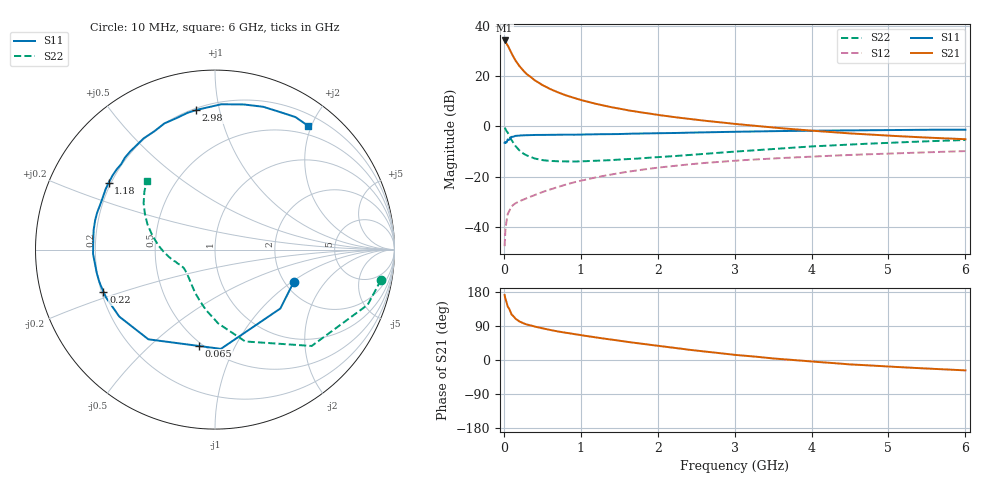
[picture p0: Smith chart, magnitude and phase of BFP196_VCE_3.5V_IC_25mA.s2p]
! Infineon Technologies  Discrete & RF Semiconductors
! BFP196
! VCE = 3.5 V,  IC =  25mA
! Common Emitter S-Parameters:  Jan 2016
# GHz  S  MA  R  50
!  f  S11  S21  S12  S22
! GHz  MAG  ANG  MAG  ANG  MAG  ANG  MAG  ANG
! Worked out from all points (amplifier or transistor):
!   210 points, 10 MHz to 6 GHz, reference 50 ohm
!   highest |S21| = 34.2 dB at 10 MHz (marker M1)
!   |S21| within 3 dB of that: start of sweep to 66.61 MHz
!   unconditionally stable (mu >= 1): 618.8 MHz to 3.497 GHz; 3.506 GHz to 4.204 GHz
!   at 185 MHz: K = 0.53, MSG = 27.4 dB, |S12| = -30.0 dB
!   at 1.52 GHz: K = 1.10, MAG = 10.7 dB, |S12| = -18.4 dB
!   at 6 GHz: K = 0.97, MSG = 2.4 dB, |S12| = -9.8 dB
!   S11 on the Smith chart (normalised r, x): 10 MHz: 2.24, -1.03; 65 MHz: 0.48, -0.73; 220 MHz: 0.21, -0.17; 1.18 GHz: 0.19, +0.28; 2.98 GHz: 0.21, +0.85; 6 GHz: 0.36, +1.95
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0.01  0.4745 -22.0  51.09 171.4  0.0042 83.2  0.9401 -10.4
0.02  0.4902 -42.0  48.83 162.0  0.0085 75.4  0.9045 -19.9
0.05  0.554 -86.6  40.84 141.2  0.0181 59.6  0.7606 -44.9
0.065  0.5443 -99.3  36.61 136.5  0.0203 54.4  0.6805 -51.1
0.1  0.6226 -126.6  28.18 120.2  0.026 46.0  0.5388 -71.8
0.15  0.6509 -145.0  20.51 108.9  0.0298 42.6  0.4111 -87.6
0.2  0.6631 -156.2  16.02 102.0  0.0326 42.7  0.338 -98.9
0.22  0.6641 -159.3  14.78 100.3  0.0336 43.2  0.3186 -102.2
0.26  0.6694 -165.0  12.53 96.5  0.0356 44.5  0.2862 -109.1
0.3  0.6717 -169.0  10.91 93.6  0.0378 46.3  0.2657 -114.5
0.4  0.6799 -178.0  8.304 88.1  0.0434 49.0  0.2317 -124.9
0.5  0.6798 176.4  6.655 83.5  0.0497 51.5  0.215 -132.6
0.7  0.6875 166.2  4.785 75.3  0.0624 54.6  0.2037 -142.2
1.02  0.6916 153.6  3.303 65.0  0.0852 55.3  0.2034 -150.9
1.18  0.6993 148.0  2.863 60.1  0.0962 54.9  0.2082 -154.2
1.6  0.717 134.5  2.113 48.0  0.1256 51.3  0.2253 -160.9
2.02  0.7364 122.1  1.685 37.0  0.1532 46.6  0.2472 -167.7
2.98  0.7842 97.7  1.135 14.1  0.2085 34.4  0.3151 176.0
3.1  0.7884 95.3  1.089 11.9  0.2139 32.7  0.3243 173.8
4.1  0.8267 77.1  0.805 -5.5  0.2561 20.7  0.4088 158.1
5.1  0.8505 63.4  0.646 -18.3  0.2935 9.7  0.4805 145.7
6  0.8629 53.1  0.559 -27.4  0.3243 -0.4  0.5393 134.8
